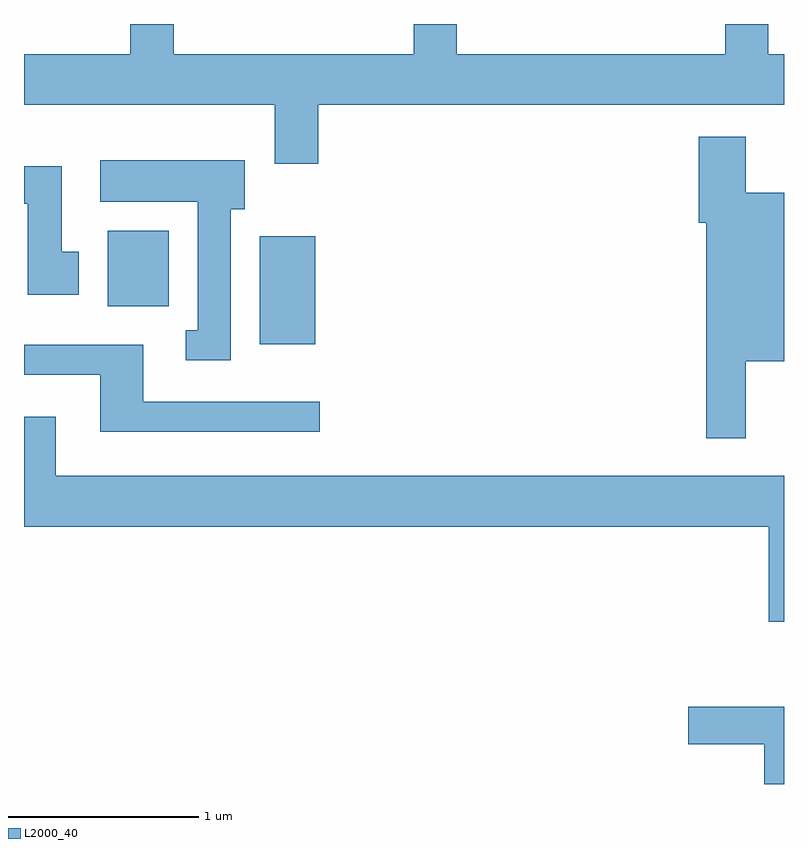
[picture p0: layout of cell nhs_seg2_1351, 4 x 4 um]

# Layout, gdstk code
import gdstk
lib = gdstk.Library(unit=1e-6, precision=1e-09)
def R(c, l, rs):  # rectangles x0, y0, x1, y1
    for r in rs: c.add(gdstk.rectangle(r[:2], r[2:], *l))
def P(c, l, *ps):  # polygons
    for p in ps: c.add(gdstk.Polygon(p, *l))
L2000_40 = (2000, 40)

nhs_seg2_1351 = lib.new_cell('nhs_seg2_1351')
R(nhs_seg2_1351, L2000_40, [(224.851,1098.116,225.144,1098.684), (224.051,1098.316,224.374,1098.714), (224.691,1099.801,225.288,1099.802)])
P(nhs_seg2_1351, L2000_40, [(227.611,1099.644),(227.529,1099.644),(227.529,1099.802),(227.301,1099.802),(227.301,1099.644),(225.889,1099.644),(225.889,1099.802),(225.661,1099.802),(225.661,1099.644),(224.399,1099.644),(224.399,1099.802),(224.171,1099.802),(224.171,1099.644),(223.611,1099.644),(223.611,1099.376),(224.931,1099.376),(224.931,1099.066),(225.159,1099.066),(225.159,1099.376),(227.611,1099.376)],
  [(227.409,1098.026),(227.611,1098.026),(227.611,1098.914),(227.409,1098.914),(227.409,1099.209),(227.161,1099.209),(227.161,1098.756),(227.201,1098.756),(227.201,1097.621),(227.409,1097.621)],
  [(224.699,1098.826),(224.774,1098.826),(224.774,1099.084),(224.011,1099.084),(224.011,1098.866),(224.526,1098.866),(224.526,1098.189),(224.463,1098.189),(224.463,1098.031),(224.699,1098.031)],
  [(223.899,1098.604),(223.809,1098.604),(223.809,1099.054),(223.611,1099.054),(223.611,1098.856),(223.631,1098.856),(223.631,1098.376),(223.899,1098.376)],
  [(225.168,1097.814),(224.239,1097.814),(224.239,1098.114),(223.611,1098.114),(223.611,1097.956),(224.011,1097.956),(224.011,1097.656),(225.168,1097.656)],
  [(227.611,1097.424),(223.779,1097.424),(223.779,1097.734),(223.611,1097.734),(223.611,1097.156),(227.531,1097.156),(227.531,1096.656),(227.611,1096.656)],
  [(227.611,1096.209),(227.106,1096.209),(227.106,1096.011),(227.506,1096.011),(227.506,1095.802),(227.611,1095.802)])

lib.write_gds('nhs_seg2_1351.gds')
